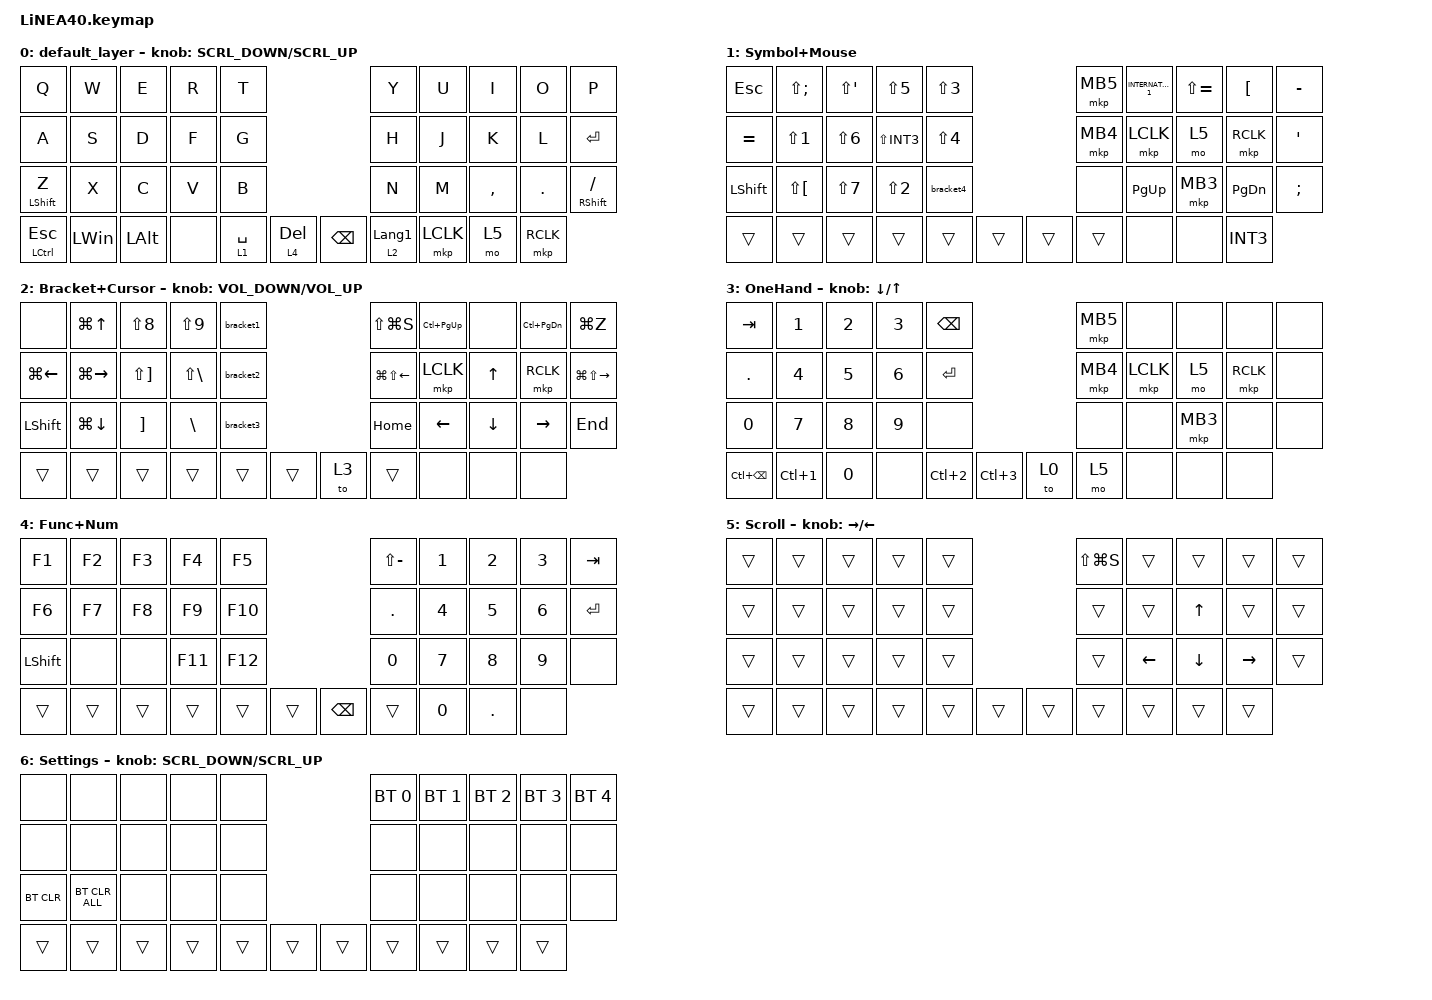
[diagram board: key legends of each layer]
#define ZMK_POINTING_DEFAULT_SCRL_VAL 150

#include <dt-bindings/zmk/input_transform.h>
#include <input/processors.dtsi>
#include <zephyr/dt-bindings/input/input-event-codes.h>
#include <behaviors.dtsi>
#include <dt-bindings/zmk/bt.h>
#include <dt-bindings/zmk/keys.h>
#include <dt-bindings/zmk/pointing.h>

#define MOUSE 1
#define MARK 2
#define CURSOR 3
#define FUNCTION 4
#define SCROLL 5
#define WIRELESS 6

//mouse cursol

&mmv {
    delay-ms = <20>;
    trigger-period-ms = <5>;
    time-to-max-speed-ms = <100>;
    acceleration-exponent = <2>;
};

//mouse scroll

&msc {
    delay-ms = <3>;
    trigger-period-ms = <3>;
    time-to-max-speed-ms = <100>;
    acceleration-exponent = <0>;
};

&mt {
    flavor = "balanced";
    quick-tap-ms = <200>;
};

&lt { quick-tap-ms = <200>; };

/ {
    input_processors {
        zip_wheel_scaler: zip_wheel_scaler {
            compatible = "zmk,input-processor-scaler";
            #input-processor-cells = <2>;
            type = <INPUT_EV_REL>;
            codes = <INPUT_REL_WHEEL>;
            track-remainders;
        };
    };
};

&msc_input_listener {
    speed_up {
        layers = <FUNCTION>;
        input-processors = <&zip_wheel_scaler 3 1>; //スクロールを3倍速にする
    };
};

&trackball_listener {
    scroller {
        layers = <SCROLL>;
        input-processors =
            <&zip_xy_transform INPUT_TRANSFORM_Y_INVERT>,
            //スクロール方向を逆転,,,,,
            <&zip_xy_to_scroll_mapper>;
    };
};

/ {
    combos {
        compatible = "zmk,combos";

        en {
            bindings = <&kp LANG2>;
            key-positions = <13 12>;
            layers = <0>;
        };

        jp {
            bindings = <&kp LANG1>;
            key-positions = <16 17>;
            layers = <0>;
        };

        tab {
            bindings = <&kp TAB>;
            key-positions = <1 0>;
        };

        shift_tab {
            bindings = <&kp LS(TAB)>;
            key-positions = <2 0>;
        };

        under_score {
            bindings = <&kp LS(INT1)>;
            key-positions = <28 29>;
        };

        minus {
            bindings = <&kp MINUS>;
            key-positions = <17 18>;
            layers = <0>;
        };

        select_line_combo {
            bindings = <&select_line>;
            key-positions = <20 24>;
        };

        to_setting {
            bindings = <&mo 6>;
            key-positions = <40 39>;
        };

        to0_1 {
            bindings = <&to 0>;
            key-positions = <13 12>;
            layers = <3>;
        };

        to0_2 {
            bindings = <&to 0>;
            key-positions = <16 17>;
            layers = <3>;
        };
    };

    behaviors {
        re_kp: sensor_rotate_kp {
            compatible = "zmk,behavior-sensor-rotate-var";
            #sensor-binding-cells = <2>;
            bindings = <&kp>, <&kp>;
        };

        mouse_scrl: mouse_wheel_scrl {
            compatible = "zmk,behavior-sensor-rotate-var";
            #sensor-binding-cells = <2>;
            bindings = <&msc>, <&msc>;

            tap-ms = <20>;
        };
    };

    macros {
        bracket1: bracket1 {
            compatible = "zmk,behavior-macro";
            #binding-cells = <0>;
            bindings = <&kp LS(N8) &kp LS(N9) &kp LEFT_ARROW>;
            label = "BRACKET1";
        };

        bracket2: bracket2 {
            compatible = "zmk,behavior-macro";
            #binding-cells = <0>;
            bindings = <&kp LS(RIGHT_BRACKET) &kp LS(BACKSLASH) &kp LEFT_ARROW>;
            label = "BRACKET2";
        };

        bracket3: bracket3 {
            compatible = "zmk,behavior-macro";
            #binding-cells = <0>;
            bindings = <&kp RIGHT_BRACKET &kp BACKSLASH &kp LEFT_ARROW>;
            label = "BRACKET3";
        };

        bracket4: bracket4 {
            compatible = "zmk,behavior-macro";
            #binding-cells = <0>;
            bindings = <&kp LS(NUMBER_2) &kp LS(NUMBER_2) &kp LEFT>;
            label = "BRACKET4";
        };

        select_line: select_line {
            compatible = "zmk,behavior-macro";
            #binding-cells = <0>;
            bindings =
                <&kp HOME>,
                <&macro_press>,
                <&kp LEFT_SHIFT>,
                <&macro_tap>,
                <&kp END>,
                <&macro_release>,
                <&kp LEFT_SHIFT>;

            label = "SELECT_LINE";
        };
    };

    keymap {
        compatible = "zmk,keymap";

        default_layer {
            bindings = <
&kp Q             &kp W         &kp E         &kp R  &kp T                                       &kp Y             &kp U  &kp I      &kp O    &kp P
&kp A             &kp S         &kp D         &kp F  &kp G                                       &kp H             &kp J  &kp K      &kp L    &kp ENTER
&mt LEFT_SHIFT Z  &kp X         &kp C         &kp V  &kp B                                       &kp N             &kp M  &kp COMMA  &kp DOT  &mt RIGHT_SHIFT SLASH
&mt LCTRL ESC     &kp LEFT_WIN  &kp LEFT_ALT  &none  &lt 1 SPACE  &lt 4 DELETE    &kp BACKSPACE  &lt 2 LANGUAGE_1         &mkp LCLK  &mo 5    &mkp RCLK
            >;

            sensor-bindings = <&mouse_scrl SCRL_DOWN SCRL_UP>;
        };

        Symbol+Mouse {
            bindings = <
&kp ESC         &kp LS(SEMI)          &kp LS(SQT)       &kp LS(N5)        &kp LS(NUMBER_3)                    &mkp MB5  &kp INTERNATIONAL_1  &kp LS(EQUAL)  &kp LEFT_BRACKET  &kp MINUS
&kp EQUAL       &kp LS(NUMBER_1)      &kp LS(NUMBER_6)  &kp LS(INT3)      &kp LS(NUMBER_4)                    &mkp MB4  &mkp LCLK            &mo 5          &mkp RCLK         &kp SQT
&kp LEFT_SHIFT  &kp LS(LEFT_BRACKET)  &kp LS(N7)        &kp LS(NUMBER_2)  &bracket4                           &none     &kp PG_UP            &mkp MB3       &kp PG_DN         &kp SEMI
&trans          &trans                &trans            &trans            &trans            &trans    &trans  &trans                         &none          &none             &kp INT3
            >;
        };

        Bracket+Cursor {
            bindings = <
&none               &kp LG(UP_ARROW)  &kp LS(N8)             &kp LS(N9)         &bracket1                   &kp LS(LG(S))     &kp LC(PG_UP)  &none         &kp LC(PG_DN)  &kp LG(Z)
&kp LG(LEFT_ARROW)  &kp LG(RIGHT)     &kp LS(RIGHT_BRACKET)  &kp LS(BACKSLASH)  &bracket2                   &kp LG(LS(LEFT))  &mkp LCLK      &kp UP_ARROW  &mkp RCLK      &kp LG(LS(RIGHT))
&kp LEFT_SHIFT      &kp LG(DOWN)      &kp RIGHT_BRACKET      &kp BACKSLASH      &bracket3                   &kp HOME          &kp LEFT       &kp DOWN      &kp RIGHT      &kp END
&trans              &trans            &trans                 &trans             &trans     &trans    &to 3  &trans                           &none         &none          &none
            >;

            sensor-bindings = <&re_kp C_VOLUME_DOWN C_VOLUME_UP>;
        };

        OneHand {
            bindings = <
&kp TAB            &kp NUMBER_1      &kp NUMBER_2  &kp NUMBER_3  &kp BACKSPACE                                &mkp MB5  &none      &none     &none      &none
&kp PERIOD         &kp NUMBER_4      &kp NUMBER_5  &kp NUMBER_6  &kp ENTER                                    &mkp MB4  &mkp LCLK  &mo 5     &mkp RCLK  &none
&kp NUMBER_0       &kp NUMBER_7      &kp NUMBER_8  &kp NUMBER_9  &none                                        &none     &none      &mkp MB3  &none      &none
&kp LC(BACKSPACE)  &kp LC(NUMBER_1)  &kp NUMBER_0  &none         &kp LC(NUMBER_2)  &kp LC(NUMBER_3)    &to 0  &mo 5                &none     &none      &none
            >;

            sensor-bindings = <&inc_dec_kp DOWN_ARROW UP_ARROW>;
        };

        Func+Num {
            bindings = <
&kp F1          &kp F2  &kp F3  &kp F4   &kp F5                            &kp LS(MINUS)  &kp NUMBER_1  &kp NUMBER_2  &kp NUMBER_3  &kp TAB
&kp F6          &kp F7  &kp F8  &kp F9   &kp F10                           &kp PERIOD     &kp NUMBER_4  &kp NUMBER_5  &kp NUMBER_6  &kp ENTER
&kp LEFT_SHIFT  &none   &none   &kp F11  &kp F12                           &kp N0         &kp NUMBER_7  &kp NUMBER_8  &kp NUMBER_9  &none
&trans          &trans  &trans  &trans   &trans   &trans    &kp BACKSPACE  &trans                       &kp N0        &kp PERIOD    &none
            >;
        };

        Scroll {
            bindings = <
&trans  &trans  &trans  &trans  &trans                    &kp LS(LG(S))  &trans          &trans          &trans           &trans
&trans  &trans  &trans  &trans  &trans                    &trans         &trans          &kp UP_ARROW    &trans           &trans
&trans  &trans  &trans  &trans  &trans                    &trans         &kp LEFT_ARROW  &kp DOWN_ARROW  &kp RIGHT_ARROW  &trans
&trans  &trans  &trans  &trans  &trans  &trans    &trans  &trans                         &trans          &trans           &trans
            >;

            sensor-bindings = <&inc_dec_kp RIGHT_ARROW LEFT_ARROW>;
        };

        Settings {
            bindings = <
&none       &none           &none   &none   &none                     &bt BT_SEL 0  &bt BT_SEL 1  &bt BT_SEL 2  &bt BT_SEL 3  &bt BT_SEL 4
&none       &none           &none   &none   &none                     &none         &none         &none         &none         &none
&bt BT_CLR  &bt BT_CLR_ALL  &none   &none   &none                     &none         &none         &none         &none         &none
&trans      &trans          &trans  &trans  &trans  &trans    &trans  &trans                      &trans        &trans        &trans
            >;

            sensor-bindings = <&mouse_scrl SCRL_DOWN SCRL_UP>;
        };
    };
};
